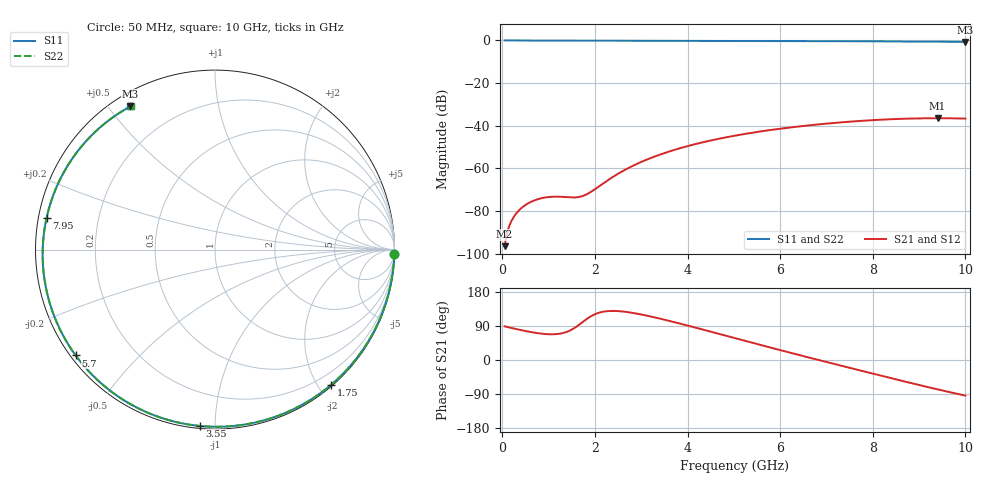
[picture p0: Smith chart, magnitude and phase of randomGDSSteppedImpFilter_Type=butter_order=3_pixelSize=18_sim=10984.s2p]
! freq	dB(S11)	phase(S11)	dB(S12)	phase(S12)
!  dB(S21)	phase(S21)	dB(S22)	phase(S22)
!S-par simulation data
#  GHz  S  DB  R 50
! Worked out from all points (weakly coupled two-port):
!   200 points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, 50 MHz to 10 GHz, reference 50 ohm
!   highest |S21| = -36.46 dB at 9.4 GHz (marker M1); lowest = -96.4 dB at 50 MHz (marker M2)
!   lowest |S11| = -0.7 dB at 10 GHz (marker M3), VSWR 26.22, Z = 2.53 + j28.5 ohm
!   |S11| at or under -10 dB: nowhere
!   |S22| runs from -0.7 to 0.0 dB; largest |S21 - S12| = 0
!   S11 on the Smith chart (normalised r, x): 50 MHz: 0, -78; 1.75 GHz: 0.02, -2.18; 3.55 GHz: 0.01, -0.92; 5.7 GHz: 0.01, -0.34; 7.95 GHz: 0.02, +0.09; 10 GHz: 0.05, +0.57
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0.05  -0.00 -1.5  -96.42 88.7  -96.42 88.7  -0.00 -1.5
0.35  -0.01 -10.1  -79.86 80.3  -79.86 80.3  -0.01 -10.1
0.6  -0.02 -17.3  -75.86 74.1  -75.86 74.1  -0.02 -17.3
0.9  -0.03 -25.8  -73.70 68.8  -73.70 68.8  -0.03 -25.8
1.15  -0.04 -32.8  -73.21 68.2  -73.21 68.2  -0.04 -32.8
1.55  -0.05 -43.9  -73.60 83.8  -73.60 83.8  -0.05 -43.9
1.75  -0.06 -49.3  -72.80 101.5  -72.80 101.5  -0.06 -49.4
1.9  -0.07 -53.4  -71.16 114.3  -71.16 114.3  -0.07 -53.4
2.2  -0.08 -61.3  -66.68 127.8  -66.68 127.8  -0.08 -61.3
2.65  -0.09 -72.9  -60.63 127.3  -60.63 127.3  -0.09 -72.9
3.4  -0.11 -91.4  -53.54 109.3  -53.54 109.3  -0.11 -91.4
3.55  -0.12 -95.0  -52.43 104.9  -52.43 104.9  -0.12 -95.0
4.25  -0.15 -111.2  -48.14 82.9  -48.14 82.9  -0.15 -111.2
5.05  -0.18 -128.9  -44.52 56.8  -44.52 56.8  -0.18 -128.9
5.7  -0.22 -142.8  -42.26 35.7  -42.26 35.7  -0.22 -142.8
6.7  -0.29 -163.8  -39.62 4.1  -39.62 4.1  -0.29 -163.9
7.35  -0.34 -177.6  -38.32 -16.0  -38.32 -16.0  -0.34 -177.6
7.95  -0.40 169.4  -37.41 -34.4  -37.41 -34.4  -0.40 169.4
8.35  -0.44 160.5  -36.96 -46.6  -36.96 -46.6  -0.44 160.5
8.9  -0.51 147.9  -36.57 -63.0  -36.57 -63.0  -0.51 147.8
9.4  -0.57 135.9  -36.46 -77.6  -36.46 -77.6  -0.57 135.8
10  -0.66 120.6  -36.61 -93.9  -36.61 -93.9  -0.66 120.5
